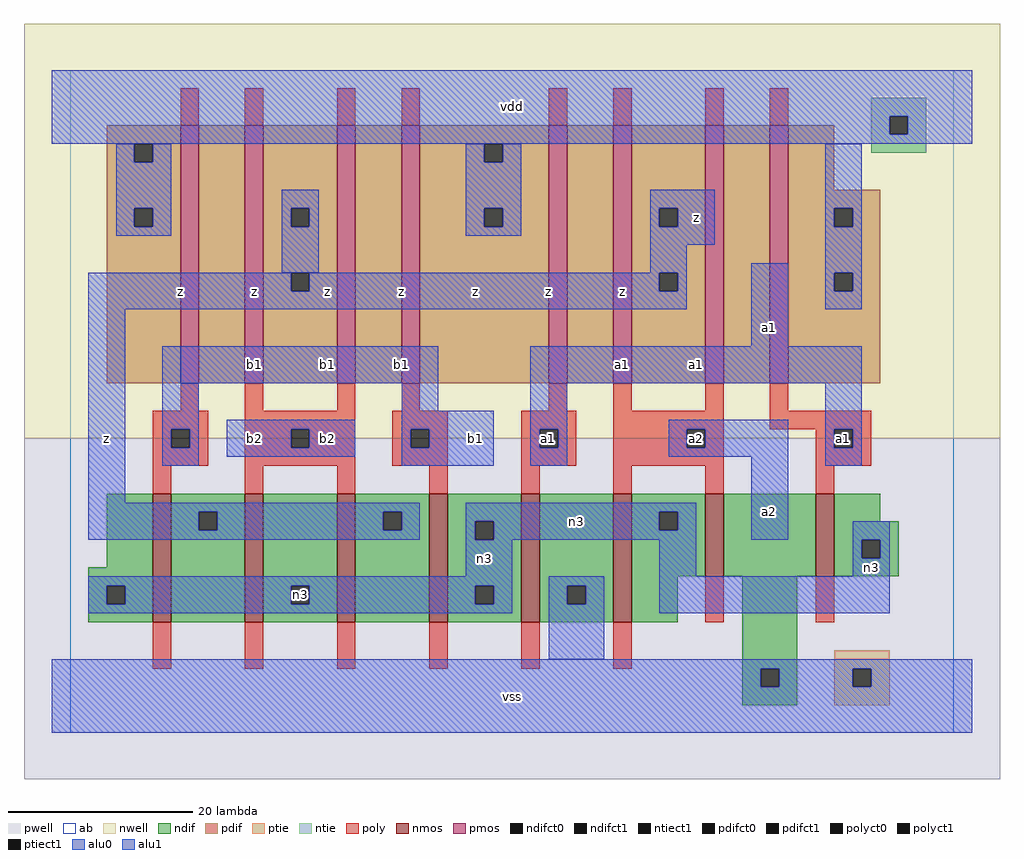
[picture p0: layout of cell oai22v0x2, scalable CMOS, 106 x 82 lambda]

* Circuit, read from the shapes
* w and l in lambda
.subckt oai22v0x2 a1 a2 b1 b2 n3 vdd vss z
M1 z b1 n3 vss nfet w=14 l=2 m=2
M2 n3 b2 z vss nfet w=14 l=2 m=2
M3 vss a1 n3 vss nfet w=14 l=2
M4 n3 a2 vss vss nfet w=14 l=2
M5 vss a2 n3 vss nfet w=9 l=2
M6 n3 a1 vss vss nfet w=9 l=2
M7 n1 b1 vdd vdd pfet w=28 l=2
M8 z b2 n1 vdd pfet w=28 l=2
M9 n2 b2 z vdd pfet w=28 l=2
M10 vdd b1 n2 vdd pfet w=28 l=2
M11 n4 a1 vdd vdd pfet w=28 l=2
M12 z a2 n4 vdd pfet w=28 l=2
M13 n5 a2 z vdd pfet w=28 l=2
M14 vdd a1 n5 vdd pfet w=28 l=2
.ends

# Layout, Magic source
magic
tech scmos
<< ab >>
rect 0 0 96 72
<< nwell >>
rect -5 32 101 77
<< pwell >>
rect -5 -5 101 32
<< poly >>
rect 12 66 14 70
rect 19 66 21 70
rect 29 66 31 70
rect 36 66 38 70
rect 52 66 54 70
rect 59 66 61 70
rect 69 66 71 70
rect 76 66 78 70
rect 12 35 14 38
rect 19 35 21 38
rect 29 35 31 38
rect 36 35 38 38
rect 52 35 54 38
rect 59 35 61 38
rect 69 35 71 38
rect 9 33 15 35
rect 9 31 11 33
rect 13 31 15 33
rect 9 29 15 31
rect 19 33 31 35
rect 19 31 24 33
rect 26 31 31 33
rect 19 29 31 31
rect 35 33 41 35
rect 35 31 37 33
rect 39 31 41 33
rect 35 29 41 31
rect 9 26 11 29
rect 19 26 21 29
rect 29 26 31 29
rect 39 26 41 29
rect 49 33 55 35
rect 49 31 51 33
rect 53 31 55 33
rect 49 29 55 31
rect 59 33 71 35
rect 76 35 78 38
rect 76 33 87 35
rect 59 31 67 33
rect 69 31 71 33
rect 59 29 71 31
rect 49 26 51 29
rect 59 26 61 29
rect 69 26 71 29
rect 81 31 83 33
rect 85 31 87 33
rect 81 29 87 31
rect 81 26 83 29
rect 69 12 71 17
rect 9 7 11 12
rect 19 7 21 12
rect 29 7 31 12
rect 39 7 41 12
rect 49 7 51 12
rect 59 7 61 12
rect 81 12 83 17
<< ndif >>
rect 4 18 9 26
rect 2 16 9 18
rect 2 14 4 16
rect 6 14 9 16
rect 2 12 9 14
rect 11 24 19 26
rect 11 22 14 24
rect 16 22 19 24
rect 11 12 19 22
rect 21 16 29 26
rect 21 14 24 16
rect 26 14 29 16
rect 21 12 29 14
rect 31 24 39 26
rect 31 22 34 24
rect 36 22 39 24
rect 31 12 39 22
rect 41 23 49 26
rect 41 21 44 23
rect 46 21 49 23
rect 41 16 49 21
rect 41 14 44 16
rect 46 14 49 16
rect 41 12 49 14
rect 51 16 59 26
rect 51 14 54 16
rect 56 14 59 16
rect 51 12 59 14
rect 61 24 69 26
rect 61 22 64 24
rect 66 22 69 24
rect 61 17 69 22
rect 71 17 81 26
rect 83 23 88 26
rect 83 21 90 23
rect 83 19 86 21
rect 88 19 90 21
rect 83 17 90 19
rect 61 12 66 17
rect 73 7 79 17
rect 73 5 75 7
rect 77 5 79 7
rect 73 3 79 5
<< pdif >>
rect 4 64 12 66
rect 4 62 7 64
rect 9 62 12 64
rect 4 57 12 62
rect 4 55 7 57
rect 9 55 12 57
rect 4 38 12 55
rect 14 38 19 66
rect 21 57 29 66
rect 21 55 24 57
rect 26 55 29 57
rect 21 50 29 55
rect 21 48 24 50
rect 26 48 29 50
rect 21 38 29 48
rect 31 38 36 66
rect 38 64 52 66
rect 38 62 45 64
rect 47 62 52 64
rect 38 57 52 62
rect 38 55 45 57
rect 47 55 52 57
rect 38 38 52 55
rect 54 38 59 66
rect 61 57 69 66
rect 61 55 64 57
rect 66 55 69 57
rect 61 50 69 55
rect 61 48 64 50
rect 66 48 69 50
rect 61 38 69 48
rect 71 38 76 66
rect 78 59 83 66
rect 78 57 88 59
rect 78 55 83 57
rect 85 55 88 57
rect 78 50 88 55
rect 78 48 83 50
rect 85 48 88 50
rect 78 38 88 48
<< alu1 >>
rect -2 67 98 72
rect -2 65 89 67
rect 91 65 98 67
rect -2 64 98 65
rect 63 57 70 59
rect 63 55 64 57
rect 66 55 70 57
rect 63 53 70 55
rect 63 50 67 53
rect 2 48 24 50
rect 26 48 64 50
rect 66 48 67 50
rect 2 46 67 48
rect 2 25 6 46
rect 74 42 78 51
rect 12 38 40 42
rect 36 35 40 38
rect 50 38 86 42
rect 17 33 31 34
rect 17 31 24 33
rect 26 31 31 33
rect 17 30 31 31
rect 36 33 46 35
rect 36 31 37 33
rect 39 31 46 33
rect 36 29 46 31
rect 50 33 54 38
rect 50 31 51 33
rect 53 31 54 33
rect 50 29 54 31
rect 65 33 78 34
rect 65 31 67 33
rect 69 31 78 33
rect 65 30 78 31
rect 2 24 38 25
rect 2 22 14 24
rect 16 22 34 24
rect 36 22 38 24
rect 2 21 38 22
rect 74 21 78 30
rect 82 33 86 38
rect 82 31 83 33
rect 85 31 86 33
rect 82 29 86 31
rect -2 7 98 8
rect -2 5 75 7
rect 77 5 85 7
rect 87 5 98 7
rect -2 0 98 5
<< ptie >>
rect 83 7 89 9
rect 83 5 85 7
rect 87 5 89 7
rect 83 3 89 5
<< ntie >>
rect 87 67 93 69
rect 87 65 89 67
rect 91 65 93 67
rect 87 63 93 65
<< nmos >>
rect 9 12 11 26
rect 19 12 21 26
rect 29 12 31 26
rect 39 12 41 26
rect 49 12 51 26
rect 59 12 61 26
rect 69 17 71 26
rect 81 17 83 26
<< pmos >>
rect 12 38 14 66
rect 19 38 21 66
rect 29 38 31 66
rect 36 38 38 66
rect 52 38 54 66
rect 59 38 61 66
rect 69 38 71 66
rect 76 38 78 66
<< polyct0 >>
rect 11 31 13 33
<< polyct1 >>
rect 24 31 26 33
rect 37 31 39 33
rect 51 31 53 33
rect 67 31 69 33
rect 83 31 85 33
<< ndifct0 >>
rect 4 14 6 16
rect 24 14 26 16
rect 44 21 46 23
rect 44 14 46 16
rect 54 14 56 16
rect 64 22 66 24
rect 86 19 88 21
<< ndifct1 >>
rect 14 22 16 24
rect 34 22 36 24
rect 75 5 77 7
<< ntiect1 >>
rect 89 65 91 67
<< ptiect1 >>
rect 85 5 87 7
<< pdifct0 >>
rect 7 62 9 64
rect 7 55 9 57
rect 24 55 26 57
rect 45 62 47 64
rect 45 55 47 57
rect 83 55 85 57
rect 83 48 85 50
<< pdifct1 >>
rect 24 48 26 50
rect 64 55 66 57
rect 64 48 66 50
<< alu0 >>
rect 5 62 7 64
rect 9 62 11 64
rect 5 57 11 62
rect 43 62 45 64
rect 47 62 49 64
rect 5 55 7 57
rect 9 55 11 57
rect 5 54 11 55
rect 23 57 27 59
rect 23 55 24 57
rect 26 55 27 57
rect 23 50 27 55
rect 43 57 49 62
rect 43 55 45 57
rect 47 55 49 57
rect 43 54 49 55
rect 82 57 86 64
rect 82 55 83 57
rect 85 55 86 57
rect 82 50 86 55
rect 82 48 83 50
rect 85 48 86 50
rect 82 46 86 48
rect 10 38 12 42
rect 10 33 14 38
rect 10 31 11 33
rect 13 31 14 33
rect 10 29 14 31
rect 43 24 68 25
rect 43 23 64 24
rect 43 21 44 23
rect 46 22 64 23
rect 66 22 68 24
rect 46 21 68 22
rect 85 21 89 23
rect 43 17 48 21
rect 64 17 68 21
rect 85 19 86 21
rect 88 19 89 21
rect 85 17 89 19
rect 2 16 48 17
rect 2 14 4 16
rect 6 14 24 16
rect 26 14 44 16
rect 46 14 48 16
rect 2 13 48 14
rect 52 16 58 17
rect 52 14 54 16
rect 56 14 58 16
rect 52 8 58 14
rect 64 13 89 17
<< labels >>
rlabel ndifct0 25 15 25 15 6 n3
rlabel alu0 45 19 45 19 6 n3
rlabel alu0 55 23 55 23 6 n3
rlabel alu0 87 18 87 18 6 n3
rlabel alu1 4 32 4 32 6 z
rlabel alu1 12 48 12 48 6 z
rlabel alu1 28 32 28 32 6 b2
rlabel alu1 20 32 20 32 6 b2
rlabel alu1 20 40 20 40 6 b1
rlabel alu1 28 40 28 40 6 b1
rlabel alu1 20 48 20 48 6 z
rlabel alu1 28 48 28 48 6 z
rlabel alu1 48 4 48 4 6 vss
rlabel alu1 44 32 44 32 6 b1
rlabel polyct1 52 32 52 32 6 a1
rlabel alu1 36 40 36 40 6 b1
rlabel alu1 36 48 36 48 6 z
rlabel alu1 44 48 44 48 6 z
rlabel alu1 52 48 52 48 6 z
rlabel alu1 48 68 48 68 6 vdd
rlabel alu1 76 24 76 24 6 a2
rlabel polyct1 68 32 68 32 6 a2
rlabel alu1 60 40 60 40 6 a1
rlabel alu1 68 40 68 40 6 a1
rlabel alu1 76 44 76 44 6 a1
rlabel alu1 60 48 60 48 6 z
rlabel alu1 68 56 68 56 6 z
rlabel polyct1 84 32 84 32 6 a1
<< end >>
